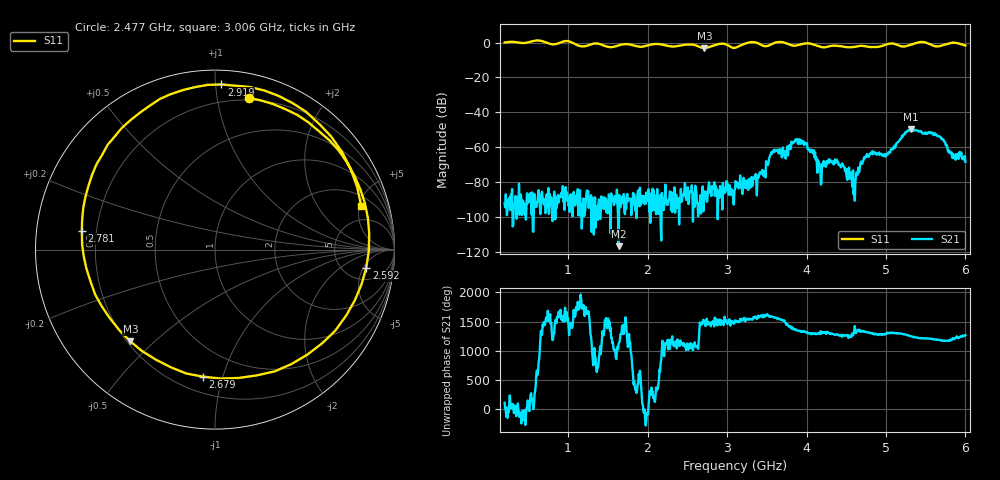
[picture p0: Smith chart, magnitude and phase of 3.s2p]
! NanoVNA-App by OneOfEleven et al v1.1.209 (+OD15)
! Date: 2024-07-30 15:09:43
! Start: 200MHz Stop: 6GHz Points: 801
! S-Parameter data: F S11 S21 S12 S22
# Hz S RI R 50
!  Frequency  S11_Real  S11_Imag  S21_Real  S21_Imag  S12_Real  S12_Imag  S22_Real  S22_Imag
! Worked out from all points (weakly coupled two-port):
!   801 points, 200 MHz to 6 GHz, reference 50 ohm
!   highest |S21| = -49.59 dB at 5.319 GHz (marker M1); lowest = -116.8 dB at 1.635 GHz (marker M2)
!   lowest |S11| = -3.2 dB at 2.716 GHz (marker M3), VSWR 5.57, Z = 10.6 - j21.1 ohm
!   |S11| at or under -10 dB: nowhere
!   S12 and S22 are empty: the file has one direction only
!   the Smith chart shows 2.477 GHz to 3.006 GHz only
!   S11 on the Smith chart (normalised r, x): 2.477 GHz: 0.18, +1.23; 2.592 GHz: 7.92, -5.80; 2.679 GHz: 0.30, -0.86; 2.781 GHz: 0.14, +0.07; 2.919 GHz: 0.09, +1.04; 3.006 GHz: 3.00, +5.21
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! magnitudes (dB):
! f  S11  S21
! 200 MHz  0.0  -92.2
! 1.171 GHz  -2.2  -106.8
! 1.635 GHz  -1.6  -116.8
! 2.136 GHz  -0.9  -98.3
! 2.477 GHz  -1.2  -83.5
! 2.592 GHz  -1.4  -94.3
! 2.679 GHz  -3.0  -88.2
! 2.716 GHz  -3.2  -89.5
! 2.781 GHz  -2.5  -83.6
! 2.919 GHz  -0.7  -83.5
! 3.006 GHz  -1.4  -84.3
! 3.1 GHz  -3.0  -84.4
! 3.346 GHz  0.2  -76.6
! 3.854 GHz  -1.8  -56.2
! 4.072 GHz  -1.0  -62.8
! 4.159 GHz  -2.2  -69.0
! 4.376 GHz  -1.9  -68.8
! 4.601 GHz  -2.5  -81.5
! 4.746 GHz  -2.2  -65.2
! 5.036 GHz  -0.7  -62.9
! 5.319 GHz  -1.2  -49.6
! 6 GHz  -1.7  -68.5
